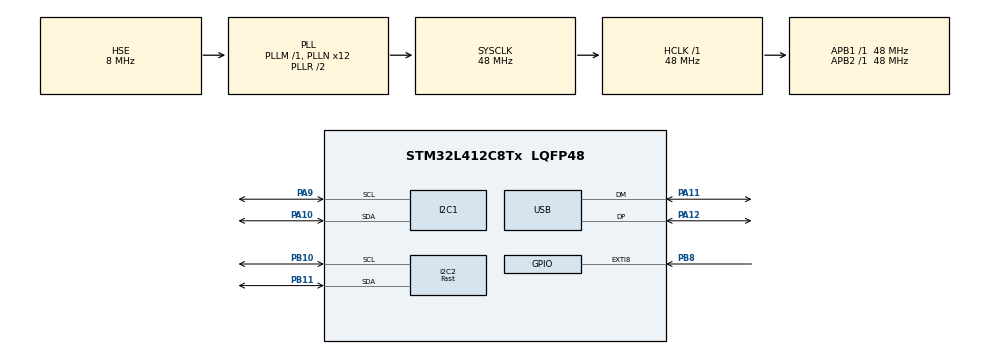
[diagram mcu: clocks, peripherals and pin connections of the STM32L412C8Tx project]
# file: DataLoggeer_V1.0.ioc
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I2C1.Timing=0x10805D88
I2C2.I2C_Speed_Mode=I2C_Fast
I2C2.Timing=0x0090194B
Mcu.Family=STM32L4
Mcu.Name=STM32L412C8Tx
Mcu.Package=LQFP48
NVIC.EXTI9_5_IRQn=true\:0\:0\:false\:false\:true\:true\:true\:true
NVIC.PriorityGroup=NVIC_PRIORITYGROUP_4
NVIC.RTC_WKUP_IRQn=true\:0\:0\:false\:false\:true\:true\:true\:true
NVIC.USB_IRQn=true\:0\:0\:false\:false\:true\:false\:true\:true
PA10.Mode=I2C
PA10.Signal=I2C1_SDA
PA11.Mode=Device
PA11.Signal=USB_DM
PA12.Mode=Device
PA12.Signal=USB_DP
PA9.Mode=I2C
PA9.Signal=I2C1_SCL
PB10.Mode=I2C
PB10.Signal=I2C2_SCL
PB11.Mode=I2C
PB11.Signal=I2C2_SDA
PB8.GPIO_ModeDefaultEXTI=GPIO_MODE_IT_FALLING
PB8.GPIO_PuPd=GPIO_PULLUP
PB8.Signal=GPXTI8
PC14-OSC32_IN\ (PC14).Mode=LSE-External-Oscillator
PC14-OSC32_IN\ (PC14).Signal=RCC_OSC32_IN
PC15-OSC32_OUT\ (PC15).Mode=LSE-External-Oscillator
PC15-OSC32_OUT\ (PC15).Signal=RCC_OSC32_OUT
PH0-OSC_IN\ (PH0).Mode=HSE-External-Oscillator
PH0-OSC_IN\ (PH0).Signal=RCC_OSC_IN
PH1-OSC_OUT\ (PH1).Mode=HSE-External-Oscillator
PH1-OSC_OUT\ (PH1).Signal=RCC_OSC_OUT
ProjectManager.HeapSize=0x200
ProjectManager.StackSize=0x400
ProjectManager.TargetToolchain=STM32CubeIDE
RCC.ADCFreq_Value=48000000
RCC.AHBFreq_Value=48000000
RCC.APB1Freq_Value=48000000
RCC.APB1TimFreq_Value=48000000
RCC.APB2Freq_Value=48000000
RCC.APB2TimFreq_Value=48000000
RCC.CK48CLockSelection=RCC_USBCLKSOURCE_PLL
RCC.CortexFreq_Value=48000000
RCC.HCLKFreq_Value=48000000
RCC.HSE_VALUE=8000000
RCC.HSI48_VALUE=48000000
RCC.HSI_VALUE=16000000
RCC.MSIClockRange=RCC_MSIRANGE_11
RCC.MSI_VALUE=48000000
RCC.PLLN=12
RCC.PLLSourceVirtual=RCC_PLLSOURCE_HSE
RCC.RTCClockSelection=RCC_RTCCLKSOURCE_LSE
RCC.SYSCLKFreq_VALUE=48000000
RCC.SYSCLKSource=RCC_SYSCLKSOURCE_PLLCLK
RCC.USBFreq_Value=48000000
RCC.VCOOutputFreq_Value=96000000
RTC.Date=25
RTC.Hours=13
RTC.Minutes=48
RTC.Month=RTC_MONTH_MARCH
RTC.Seconds=10
RTC.WakeUpClock-WakeUp=RTC_WAKEUPCLOCK_CK_SPRE_16BITS
RTC.WeekDay=RTC_WEEKDAY_TUESDAY
RTC.Year=25
USB_DEVICE.CLASS_NAME_FS=CDC
USB_DEVICE.PRODUCT_STRING_CDC_FS=DK RD
USB_DEVICE.VirtualMode=Cdc
USB_DEVICE.VirtualModeFS=Cdc_FS
VP_RTC_VS_RTC_Activate.Mode=RTC_Enabled
VP_RTC_VS_RTC_Calendar.Mode=RTC_Calendar
VP_RTC_VS_RTC_WakeUp_intern.Mode=WakeUp
VP_USB_DEVICE_VS_USB_DEVICE_CDC_FS.Mode=CDC_FS
board=custom

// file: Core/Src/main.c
/* USER CODE BEGIN Header */
/**
 ******************************************************************************
 * @file           : main.c
 * @brief          : Main program body
 ******************************************************************************
 * @attention
 *
 * Copyright (c) 2025 STMicroelectronics.
 * All rights reserved.
 *
 * This software is licensed under terms that can be found in the LICENSE file
 * in the root directory of this software component.
 * If no LICENSE file comes with this software, it is provided AS-IS.
 *
 ******************************************************************************
 */
/* USER CODE END Header */
#include "main.h"
#include "usb_device.h"

/* USER CODE BEGIN Includes */
//#include "/BME280_STM32.h"
//#include "usbd_cdc_if.h"
//#include "EEPROM.h"
//#include "GPIO_interface.h"
//#include "EXTI_interface.h"

//#include "BME280_STM32.h"
#include "usbd_cdc_if.h"
//#include "EEPROM.h"
#include "hal_BME280.h"
#include "hal_EEPROM.h"
#include "hal_PC.h"
#include "hal_RTC.h"
#include "hal_Switch.h"
#include "appcb_GPIO.h"
#include "appcb_RTC.h"

/* USER CODE END Includes */

/* USER CODE BEGIN PTD */
//small change
/* USER CODE END PTD */

/* USER CODE BEGIN PD */
#define EEPROM_TEST
#define USB_TEST
#define APP_TEST_V1
/* USER CODE END PD */

I2C_HandleTypeDef hi2c1;
I2C_HandleTypeDef hi2c2;

RTC_HandleTypeDef hrtc;

/* USER CODE BEGIN PV */

#ifdef EEPROM_TEST
uint8_t g_ui8ReadData=0;
uint8_t g_aui8TxBuffer[HAL_EEPROM_PAGE_SIZE] = {0};
uint8_t g_aui8RxBuffer[HAL_EEPROM_PAGE_SIZE] = {0};
uint8_t ui8I = 0;
#endif

#ifdef USB_TEST
uint8_t g_ui8usbReadBuffer[64];
uint8_t tmpUsbReadBuffer[64]={0};
uint8_t g_usbReadBuffer[64] = {0};
#endif

#ifdef APP_TEST_V1
float Temperature, Pressure, Humidity;
#endif

/* USER CODE END PV */

void SystemClock_Config(void);
static void MX_GPIO_Init(void);
static void MX_I2C1_Init(void);
static void MX_I2C2_Init(void);
static void MX_RTC_Init(void);

int main(void)
{

	/* MCU Configuration--------------------------------------------------------*/

	/* Reset of all peripherals, Initializes the Flash interface and the Systick. */
	HAL_Init();

	/* Configure the system clock */
	SystemClock_Config();

	/* Initialize all configured peripherals */
	MX_GPIO_Init();
	MX_I2C1_Init();
	MX_I2C2_Init();
	MX_RTC_Init();
	MX_USB_DEVICE_Init();
	/* USER CODE BEGIN 2 */

	HAL_RTC_init(APP_RTC_WakeUpCallback);
	HAL_Switch_Init(APP_GPIO_EXTI_Callback);

	HAL_RTC_SetWakeUpTime(1);
	HAL_BME280_SensorConfig(OSRS_2, OSRS_16, OSRS_1, MODE_NORMAL, T_SB_0p5, IIR_16);

#ifdef EEPROM_TEST
	HAL_EEPROM_WriteByte(115, 0x55);
	HAL_Delay(5);
	HAL_EEPROM_ReadByte(115, &g_ui8ReadData);
	for (ui8I=0; ui8I < 128; ui8I++){
		g_aui8TxBuffer[ui8I]= 0xFF;
	}
	HAL_EEPROM_WritePage(1, g_aui8TxBuffer, HAL_EEPROM_PAGE_SIZE);
	HAL_Delay(5);
	HAL_EEPROM_ReadPage(1, g_aui8RxBuffer, HAL_EEPROM_PAGE_SIZE);

	memset(g_aui8RxBuffer, 0, HAL_EEPROM_PAGE_SIZE);

	HAL_EEPROM_Write(HAL_EEPROM_DATA_START_ADDR, g_aui8TxBuffer, HAL_EEPROM_PAGE_SIZE);

	HAL_EEPROM_Read(HAL_EEPROM_DATA_START_ADDR, g_aui8RxBuffer, HAL_EEPROM_PAGE_SIZE);

#endif
	/* USER CODE END 2 */

	/* Infinite loop */
	while (1)
	{

		/* USER CODE BEGIN 3 */
#ifdef USB_TEST
		HAL_PC_read(g_ui8usbReadBuffer);
		if (strstr((char*)g_ui8usbReadBuffer, "start") != NULL)
		{
			memset(g_aui8UsbRxBuffer, 0, 64);
			HAL_EEPROM_Stream_Data();
//			memcpy(g_usbReadBuffer,tmpUsbReadBuffer,64);
		}
#endif
#ifdef APP_TEST_V1
		if(g_ui8StopModeFlag==0)
		{
			//enter stop mode/
			HAL_PWR_EnterSTOPMode(PWR_LOWPOWERREGULATOR_ON, PWR_STOPENTRY_WFI);
		}
		if(g_ui8_WriteToEepromFlag == 0)
		{
			HAL_BME280_WakeUPSensor();
			HAL_BME280_Measure(&Temperature, &Humidity);
			HAL_EEPROM_Write_DateTime(Temperature, Humidity);
		}

	}
#endif
	/* USER CODE END 3 */
}

void SystemClock_Config(void)
{
	RCC_OscInitTypeDef RCC_OscInitStruct = {0};
	RCC_ClkInitTypeDef RCC_ClkInitStruct = {0};

	/** Configure the main internal regulator output voltage
	 */
	if (HAL_PWREx_ControlVoltageScaling(PWR_REGULATOR_VOLTAGE_SCALE1) != HAL_OK)
	{
		Error_Handler();
	}

	/** Initializes the RCC Oscillators according to the specified parameters
	 * in the RCC_OscInitTypeDef structure.
	 */
	RCC_OscInitStruct.OscillatorType = RCC_OSCILLATORTYPE_LSI|RCC_OSCILLATORTYPE_HSE;
	RCC_OscInitStruct.HSEState = RCC_HSE_ON;
	RCC_OscInitStruct.LSIState = RCC_LSI_ON;
	RCC_OscInitStruct.PLL.PLLState = RCC_PLL_ON;
	RCC_OscInitStruct.PLL.PLLSource = RCC_PLLSOURCE_HSE;
	RCC_OscInitStruct.PLL.PLLM = 1;
	RCC_OscInitStruct.PLL.PLLN = 12;
	RCC_OscInitStruct.PLL.PLLQ = RCC_PLLQ_DIV2;
	RCC_OscInitStruct.PLL.PLLR = RCC_PLLR_DIV2;
	if (HAL_RCC_OscConfig(&RCC_OscInitStruct) != HAL_OK)
	{
		Error_Handler();
	}

	/** Initializes the CPU, AHB and APB buses clocks
	 */
	RCC_ClkInitStruct.ClockType = RCC_CLOCKTYPE_HCLK|RCC_CLOCKTYPE_SYSCLK
			|RCC_CLOCKTYPE_PCLK1|RCC_CLOCKTYPE_PCLK2;
	RCC_ClkInitStruct.SYSCLKSource = RCC_SYSCLKSOURCE_PLLCLK;
	RCC_ClkInitStruct.AHBCLKDivider = RCC_SYSCLK_DIV1;
	RCC_ClkInitStruct.APB1CLKDivider = RCC_HCLK_DIV1;
	RCC_ClkInitStruct.APB2CLKDivider = RCC_HCLK_DIV1;

	if (HAL_RCC_ClockConfig(&RCC_ClkInitStruct, FLASH_LATENCY_2) != HAL_OK)
	{
		Error_Handler();
	}
}

static void MX_I2C1_Init(void)
{

	hi2c1.Instance = I2C1;
	hi2c1.Init.Timing = 0x20303E5D;
	hi2c1.Init.OwnAddress1 = 0;
	hi2c1.Init.AddressingMode = I2C_ADDRESSINGMODE_7BIT;
	hi2c1.Init.DualAddressMode = I2C_DUALADDRESS_DISABLE;
	hi2c1.Init.OwnAddress2 = 0;
	hi2c1.Init.OwnAddress2Masks = I2C_OA2_NOMASK;
	hi2c1.Init.GeneralCallMode = I2C_GENERALCALL_DISABLE;
	hi2c1.Init.NoStretchMode = I2C_NOSTRETCH_DISABLE;
	if (HAL_I2C_Init(&hi2c1) != HAL_OK)
	{
		Error_Handler();
	}

	/** Configure Analogue filter
	 */
	if (HAL_I2CEx_ConfigAnalogFilter(&hi2c1, I2C_ANALOGFILTER_ENABLE) != HAL_OK)
	{
		Error_Handler();
	}

	/** Configure Digital filter
	 */
	if (HAL_I2CEx_ConfigDigitalFilter(&hi2c1, 0) != HAL_OK)
	{
		Error_Handler();
	}

}

static void MX_I2C2_Init(void)
{

	hi2c2.Instance = I2C2;
	hi2c2.Init.Timing = 0x2010091A;
	hi2c2.Init.OwnAddress1 = 0;
	hi2c2.Init.AddressingMode = I2C_ADDRESSINGMODE_7BIT;
	hi2c2.Init.DualAddressMode = I2C_DUALADDRESS_DISABLE;
	hi2c2.Init.OwnAddress2 = 0;
	hi2c2.Init.OwnAddress2Masks = I2C_OA2_NOMASK;
	hi2c2.Init.GeneralCallMode = I2C_GENERALCALL_DISABLE;
	hi2c2.Init.NoStretchMode = I2C_NOSTRETCH_DISABLE;
	if (HAL_I2C_Init(&hi2c2) != HAL_OK)
	{
		Error_Handler();
	}

	/** Configure Analogue filter
	 */
	if (HAL_I2CEx_ConfigAnalogFilter(&hi2c2, I2C_ANALOGFILTER_ENABLE) != HAL_OK)
	{
		Error_Handler();
	}

	/** Configure Digital filter
	 */
	if (HAL_I2CEx_ConfigDigitalFilter(&hi2c2, 0) != HAL_OK)
	{
		Error_Handler();
	}

}

static void MX_RTC_Init(void)
{

	RTC_TimeTypeDef sTime = {0};
	RTC_DateTypeDef sDate = {0};

	/** Initialize RTC Only
	 */
	hrtc.Instance = RTC;
	hrtc.Init.HourFormat = RTC_HOURFORMAT_24;
	hrtc.Init.AsynchPrediv = 127;
	hrtc.Init.SynchPrediv = 255;
	hrtc.Init.OutPut = RTC_OUTPUT_DISABLE;
	hrtc.Init.OutPutRemap = RTC_OUTPUT_REMAP_NONE;
	hrtc.Init.OutPutPolarity = RTC_OUTPUT_POLARITY_HIGH;
	hrtc.Init.OutPutType = RTC_OUTPUT_TYPE_OPENDRAIN;
	hrtc.Init.OutPutPullUp = RTC_OUTPUT_PULLUP_NONE;
	if (HAL_RTC_Init(&hrtc) != HAL_OK)
	{
		Error_Handler();
	}

	/** Initialize RTC and set the Time and Date
	 */
	sTime.Hours = 0x13;
	sTime.Minutes = 0x48;
	sTime.Seconds = 0x10;
	sTime.DayLightSaving = RTC_DAYLIGHTSAVING_NONE;
	sTime.StoreOperation = RTC_STOREOPERATION_RESET;
	if (HAL_RTC_SetTime(&hrtc, &sTime, RTC_FORMAT_BCD) != HAL_OK)
	{
		Error_Handler();
	}
	sDate.WeekDay = RTC_WEEKDAY_TUESDAY;
	sDate.Month = RTC_MONTH_MARCH;
	sDate.Date = 0x25;
	sDate.Year = 0x25;

	if (HAL_RTC_SetDate(&hrtc, &sDate, RTC_FORMAT_BCD) != HAL_OK)
	{
		Error_Handler();
	}

	/** Enable the WakeUp
	 */
	if (HAL_RTCEx_SetWakeUpTimer_IT(&hrtc, 0, RTC_WAKEUPCLOCK_CK_SPRE_16BITS, 0) != HAL_OK)
	{
		Error_Handler();
	}

}

static void MX_GPIO_Init(void)
{
	GPIO_InitTypeDef GPIO_InitStruct = {0};

	/* GPIO Ports Clock Enable */
	__HAL_RCC_GPIOH_CLK_ENABLE();
	__HAL_RCC_GPIOB_CLK_ENABLE();
	__HAL_RCC_GPIOA_CLK_ENABLE();

	/*Configure GPIO pin : PB8 */
	GPIO_InitStruct.Pin = GPIO_PIN_8;
	GPIO_InitStruct.Mode = GPIO_MODE_IT_FALLING;
	GPIO_InitStruct.Pull = GPIO_PULLUP;
	HAL_GPIO_Init(GPIOB, &GPIO_InitStruct);

	/* EXTI interrupt init*/
	HAL_NVIC_SetPriority(EXTI9_5_IRQn, 0, 0);
	HAL_NVIC_EnableIRQ(EXTI9_5_IRQn);

}

void Error_Handler(void)
{
	__disable_irq();
	while (1)
	{
	}
}
